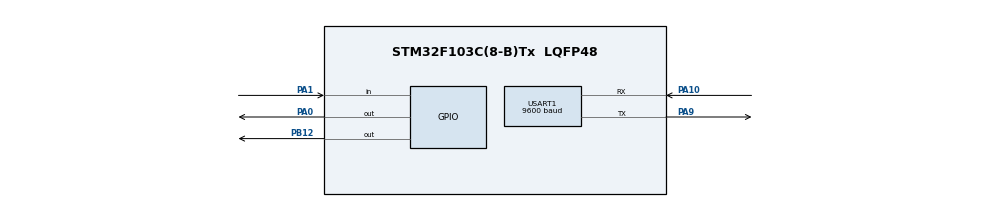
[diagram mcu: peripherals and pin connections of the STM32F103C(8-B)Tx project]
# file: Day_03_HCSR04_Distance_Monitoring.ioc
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Mcu.Family=STM32F1
Mcu.Name=STM32F103C(8-B)Tx
Mcu.Package=LQFP48
NVIC.PriorityGroup=NVIC_PRIORITYGROUP_4
PA0-WKUP.Signal=GPIO_Output
PA1.Signal=GPIO_Input
PA10.Mode=Asynchronous
PA10.Signal=USART1_RX
PA9.Mode=Asynchronous
PA9.Signal=USART1_TX
PB12.Signal=GPIO_Output
ProjectManager.HeapSize=0x200
ProjectManager.StackSize=0x400
ProjectManager.TargetToolchain=STM32CubeIDE
RCC.APB1Freq_Value=8000000
RCC.APB2Freq_Value=8000000
USART1.BaudRate=9600
USART1.VirtualMode=VM_ASYNC
VP_SYS_VS_ND.Mode=No_Debug
board=custom

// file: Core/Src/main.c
/* USER CODE BEGIN Header */
/**
  ******************************************************************************
  * @file           : main.c
  * @brief          : EV ADAS Distance Monitoring System
  ******************************************************************************
  */
/* USER CODE END Header */

#include "main.h"

#include <stdio.h>
#include <string.h>

UART_HandleTypeDef huart1;

/* USER CODE BEGIN PV */

uint32_t pulse_time = 0;

float distance = 0;

char uart_buffer[100];

/* USER CODE END PV */

void SystemClock_Config(void);

static void MX_GPIO_Init(void);

static void MX_USART1_UART_Init(void);

/* USER CODE BEGIN PFP */

void HCSR04_Trigger(void);

uint32_t HCSR04_Read(void);

void Send_UART_Data(void);

void Check_Distance_Warning(void);

/* USER CODE END PFP */

int main(void)
{
  HAL_Init();

  SystemClock_Config();

  MX_GPIO_Init();

  MX_USART1_UART_Init();

  while (1)
  {
      HCSR04_Trigger();

      pulse_time = HCSR04_Read();

      distance = pulse_time;

      Check_Distance_Warning();

      Send_UART_Data();

      HAL_Delay(1000);
  }
}

void SystemClock_Config(void)
{
  RCC_OscInitTypeDef RCC_OscInitStruct = {0};

  RCC_ClkInitTypeDef RCC_ClkInitStruct = {0};

  RCC_OscInitStruct.OscillatorType = RCC_OSCILLATORTYPE_HSI;

  RCC_OscInitStruct.HSIState = RCC_HSI_ON;

  RCC_OscInitStruct.HSICalibrationValue = RCC_HSICALIBRATION_DEFAULT;

  RCC_OscInitStruct.PLL.PLLState = RCC_PLL_NONE;

  if (HAL_RCC_OscConfig(&RCC_OscInitStruct) != HAL_OK)
  {
    Error_Handler();
  }

  RCC_ClkInitStruct.ClockType = RCC_CLOCKTYPE_HCLK |
                                RCC_CLOCKTYPE_SYSCLK |
                                RCC_CLOCKTYPE_PCLK1 |
                                RCC_CLOCKTYPE_PCLK2;

  RCC_ClkInitStruct.SYSCLKSource = RCC_SYSCLKSOURCE_HSI;

  RCC_ClkInitStruct.AHBCLKDivider = RCC_SYSCLK_DIV1;

  RCC_ClkInitStruct.APB1CLKDivider = RCC_HCLK_DIV1;

  RCC_ClkInitStruct.APB2CLKDivider = RCC_HCLK_DIV1;

  if (HAL_RCC_ClockConfig(&RCC_ClkInitStruct,
                          FLASH_LATENCY_0) != HAL_OK)
  {
    Error_Handler();
  }
}

static void MX_USART1_UART_Init(void)
{
  huart1.Instance = USART1;

  huart1.Init.BaudRate = 9600;

  huart1.Init.WordLength = UART_WORDLENGTH_8B;

  huart1.Init.StopBits = UART_STOPBITS_1;

  huart1.Init.Parity = UART_PARITY_NONE;

  huart1.Init.Mode = UART_MODE_TX_RX;

  huart1.Init.HwFlowCtl = UART_HWCONTROL_NONE;

  huart1.Init.OverSampling = UART_OVERSAMPLING_16;

  if (HAL_UART_Init(&huart1) != HAL_OK)
  {
    Error_Handler();
  }
}

static void MX_GPIO_Init(void)
{
  GPIO_InitTypeDef GPIO_InitStruct = {0};

  __HAL_RCC_GPIOA_CLK_ENABLE();

  __HAL_RCC_GPIOB_CLK_ENABLE();

  /* PA0 LOW */
  HAL_GPIO_WritePin(GPIOA,
                    GPIO_PIN_0,
                    GPIO_PIN_RESET);

  /* PB12 LOW */
  HAL_GPIO_WritePin(GPIOB,
                    GPIO_PIN_12,
                    GPIO_PIN_RESET);

  /* PA0 OUTPUT */
  GPIO_InitStruct.Pin = GPIO_PIN_0;

  GPIO_InitStruct.Mode = GPIO_MODE_OUTPUT_PP;

  GPIO_InitStruct.Pull = GPIO_NOPULL;

  GPIO_InitStruct.Speed = GPIO_SPEED_FREQ_LOW;

  HAL_GPIO_Init(GPIOA, &GPIO_InitStruct);

  /* PB12 OUTPUT */
  GPIO_InitStruct.Pin = GPIO_PIN_12;

  GPIO_InitStruct.Mode = GPIO_MODE_OUTPUT_PP;

  GPIO_InitStruct.Pull = GPIO_NOPULL;

  GPIO_InitStruct.Speed = GPIO_SPEED_FREQ_LOW;

  HAL_GPIO_Init(GPIOB, &GPIO_InitStruct);
}

/* USER CODE BEGIN 4 */

void HCSR04_Trigger(void)
{
    HAL_GPIO_WritePin(GPIOA,
                      GPIO_PIN_0,
                      GPIO_PIN_SET);

    HAL_Delay(1);

    HAL_GPIO_WritePin(GPIOA,
                      GPIO_PIN_0,
                      GPIO_PIN_RESET);
}

uint32_t HCSR04_Read(void)
{
    static uint32_t fake_distance = 5;

    fake_distance += 5;

    if(fake_distance > 50)
    {
        fake_distance = 5;
    }

    return fake_distance;
}

void Send_UART_Data(void)
{
    sprintf(uart_buffer,
            "Distance: %.2f cm\r\n",
            distance);

    HAL_UART_Transmit(&huart1,
                      (uint8_t*)uart_buffer,
                      strlen(uart_buffer),
                      HAL_MAX_DELAY);
}

void Check_Distance_Warning(void)
{
    if(distance < 20.0f)
    {
        HAL_GPIO_WritePin(GPIOB,
                          GPIO_PIN_12,
                          GPIO_PIN_SET);

        sprintf(uart_buffer,
                "WARNING: OBJECT TOO CLOSE\r\n");

        HAL_UART_Transmit(&huart1,
                          (uint8_t*)uart_buffer,
                          strlen(uart_buffer),
                          HAL_MAX_DELAY);
    }
    else
    {
        HAL_GPIO_WritePin(GPIOB,
                          GPIO_PIN_12,
                          GPIO_PIN_RESET);
    }
}

/* USER CODE END 4 */

void Error_Handler(void)
{
  __disable_irq();

  while (1)
  {
  }
}
